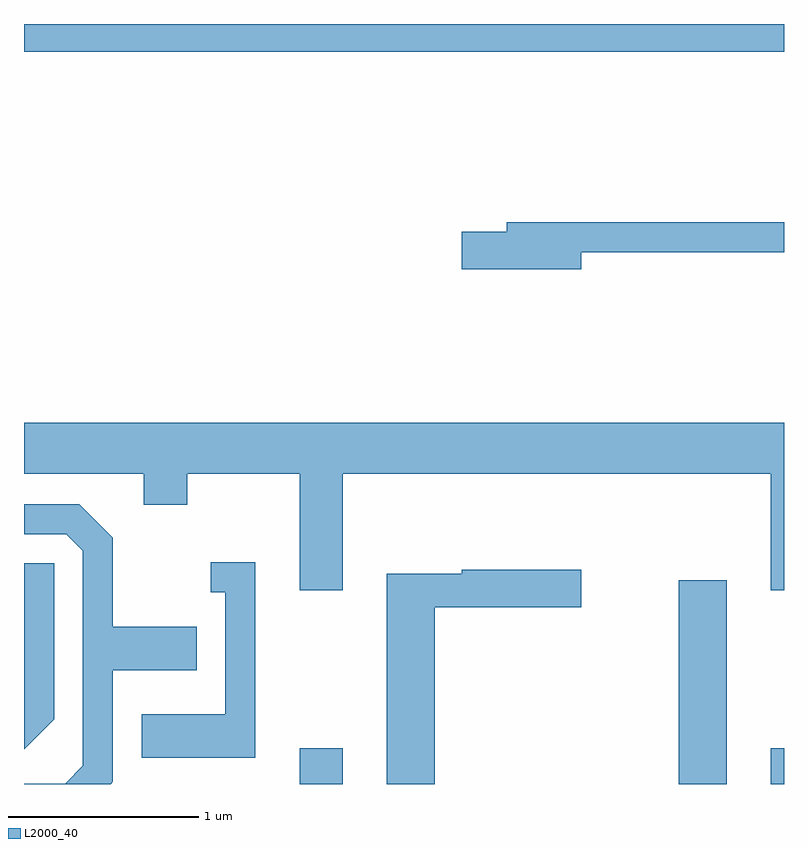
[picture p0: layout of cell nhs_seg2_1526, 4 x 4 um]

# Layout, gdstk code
import gdstk
lib = gdstk.Library(unit=1e-6, precision=1e-09)
def R(c, l, rs):  # rectangles x0, y0, x1, y1
    for r in rs: c.add(gdstk.rectangle(r[:2], r[2:], *l))
def P(c, l, *ps):  # polygons
    for p in ps: c.add(gdstk.Polygon(p, *l))
L2000_40 = (2000, 40)

nhs_seg2_1526 = lib.new_cell('nhs_seg2_1526')
R(nhs_seg2_1526, L2000_40, [(231.061,1037.802,231.289,1037.989), (233.056,1037.802,233.309,1038.874), (233.541,1037.802,233.611,1037.989), (229.611,1041.656,233.611,1041.802)])
P(nhs_seg2_1526, L2000_40, [(232.544,1040.601),(233.611,1040.601),(233.611,1040.759),(232.151,1040.759),(232.151,1040.709),(231.916,1040.709),(231.916,1040.511),(232.544,1040.511)],
  [(231.289,1039.436),(233.541,1039.436),(233.541,1038.821),(233.611,1038.821),(233.611,1039.704),(229.611,1039.704),(229.611,1039.436),(230.241,1039.436),(230.241,1039.271),(230.469,1039.271),(230.469,1039.436),(231.061,1039.436),(231.061,1038.821),(231.289,1038.821)],
  [(230.079,1037.814),(230.079,1038.401),(230.519,1038.401),(230.519,1038.629),(230.079,1038.629),(230.079,1039.097),(229.902,1039.274),(229.611,1039.274),(229.611,1039.116),(229.834,1039.116),(229.921,1039.029),(229.921,1037.897),(229.829,1037.804),(229.611,1037.804),(229.611,1037.802),(230.067,1037.802)],
  [(230.829,1038.969),(230.593,1038.969),(230.593,1038.811),(230.671,1038.811),(230.671,1038.169),(230.231,1038.169),(230.231,1037.941),(230.829,1037.941)],
  [(229.769,1038.144),(229.769,1038.964),(229.611,1038.964),(229.611,1037.985)],
  [(231.774,1038.731),(232.544,1038.731),(232.544,1038.929),(231.916,1038.929),(231.916,1038.909),(231.521,1038.909),(231.521,1037.802),(231.774,1037.802)])

lib.write_gds('nhs_seg2_1526.gds')
